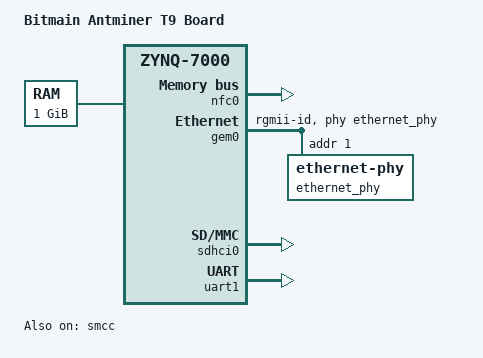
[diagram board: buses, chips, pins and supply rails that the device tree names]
// SPDX-License-Identifier: GPL-2.0
/*
 * Bitmain Antminer S9 board DTS
 *
 * Copyright (C) 2018 Michal Simek
 * Copyright (C) 2018 VanguardiaSur
 */
/dts-v1/;
#include "zynq-7000.dtsi"

/ {
	model = "Bitmain Antminer T9 Board";
	compatible = "bitmain,antminer-t9", "xlnx,zynq-7000";

	aliases {
		ethernet0 = &gem0;
		serial0 = &uart1;
		mmc0 = &sdhci0;
		gpio0 = &gpio0;
	};

	memory@0 {
		device_type = "memory";
		reg = <0x0 0x40000000>;
	};

	reserved-memory {
		#address-cells = <1>;
		#size-cells = <1>;
		ranges;

		bootcount@efffff0 {
			reg = <0xefffff0 0x10>;
			no-map;
		};

		fpga_space@f000000 {
			reg = <0xf000000 0x1000000>;
			no-map;
		};
	};

	chosen {
		bootargs = "earlycon";
		stdout-path = "serial0:115200n8";
	};
};

&clkc {
	ps-clk-frequency = <33333333>;
};

&nfc0 {
	status = "okay";
	#address-cells = <1>;
	#size-cells = <0>;
	nand0 {
    #address-cells = <1>;
	  #size-cells = <1>;
    // status = "okay";
    nand-bus-width = <8>;
    nand-ecc-mode = "soft";  // 或 "hw" 如果硬件支持ECC
    nand-on-flash-bbt;       // 启用坏块表
    partition@0 {
        label = "nand-fsbl-uboot";
        reg = <0x0 0x100000>;  // 1MB for FSBL and U-Boot
    };
    partition@100000 {
        label = "nand-linux";
        reg = <0x100000 0x500000>;  // 5MB for Linux kernel
    };
    partition@600000 {
        label = "nand-rootfs";
        reg = <0x600000 0x1FA00000>;  // 剩余空间用于根文件系统
    };
  };
};

&smcc {
	status = "okay";
};

&gem0 {
	status = "okay";
	phy-mode = "rgmii-id";
	phy-handle = <&ethernet_phy>;

	/* 0362/5e62 */
	ethernet_phy: ethernet-phy@1 {
		reg = <1>;
	};
};

&sdhci0 {
	bootph-all;
	status = "okay";
	disable-wp;
};

&uart1 {
	bootph-all;
	status = "okay";
};

// &watchdog0 {
// 	reset-on-timeout;
// 	timeout-sec = <200>;
// };
